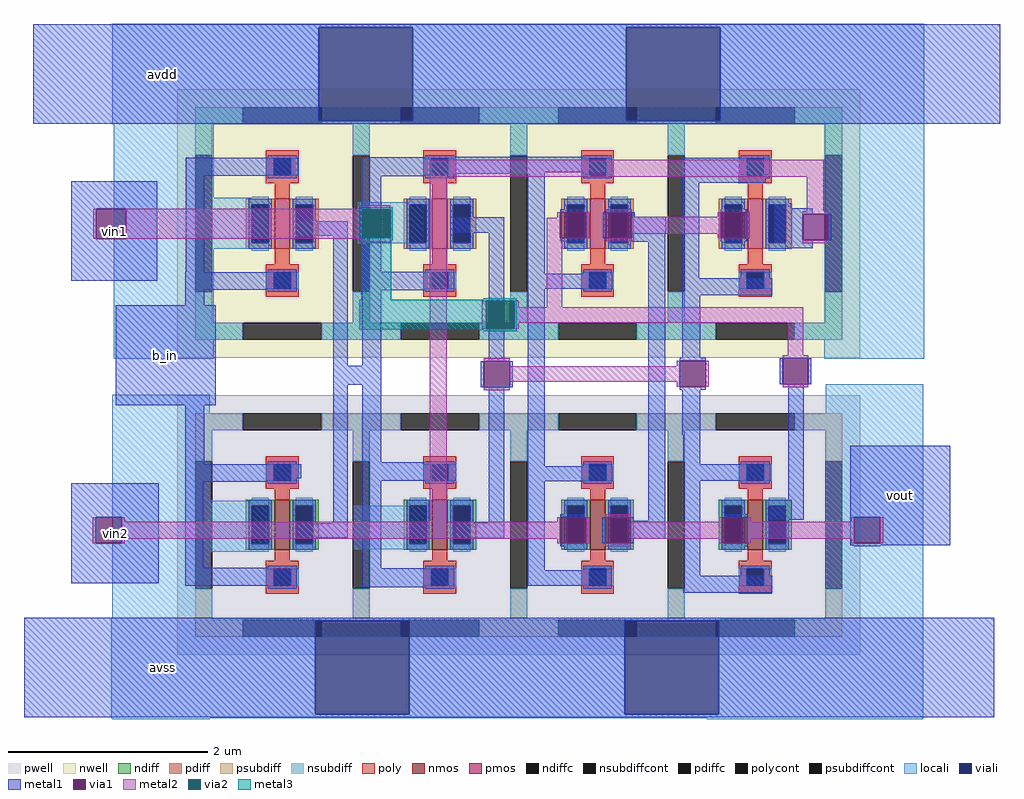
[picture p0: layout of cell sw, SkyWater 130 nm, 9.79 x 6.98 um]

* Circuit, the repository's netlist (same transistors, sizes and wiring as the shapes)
** sch_path: /foss/designs/crossmem_ipn/designs/libs/crossmem_ipn/dac5bits/sch/sw.sch
.subckt sw avdd b_in avss vin1 vout vin2
*.PININFO avss:B vin1:B vout:B avdd:B vin2:B b_in:B
XM1 net1 b_in avss avss sky130_fd_pr__nfet_01v8 L=0.15 W=0.5 nf=1
XM2 net1 b_in avdd avdd sky130_fd_pr__pfet_01v8 L=0.15 W=0.5 nf=1
XM3 net2 net1 avss avss sky130_fd_pr__nfet_01v8 L=0.15 W=0.5 nf=1
XM4 net2 net1 avdd avdd sky130_fd_pr__pfet_01v8 L=0.15 W=0.5 nf=1
XM5 vout net1 vin1 avdd sky130_fd_pr__pfet_01v8 L=0.15 W=0.5 nf=1
XM6 vout net1 vin2 avss sky130_fd_pr__nfet_01v8 L=0.15 W=0.5 nf=1
XM7 vin1 net2 vout avss sky130_fd_pr__nfet_01v8 L=0.15 W=0.5 nf=1
XM8 vin2 net2 vout avdd sky130_fd_pr__pfet_01v8 L=0.15 W=0.5 nf=1
.ends

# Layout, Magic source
magic
tech sky130A
magscale 1 2
<< locali >>
rect 880 117 2508 124
rect 880 -71 1294 117
rect 1482 -71 1911 117
rect 2099 -71 2508 117
rect 880 -78 2508 -71
rect 883 -225 1083 -78
rect 883 -327 1194 -225
rect 1372 -316 1505 -234
rect 883 -548 1083 -327
rect 2308 -548 2508 -78
rect 880 -833 1075 -620
rect 880 -935 1191 -833
rect 1364 -930 1512 -843
rect 880 -1068 1075 -935
rect 1255 -1068 2102 -1067
rect 2311 -1068 2506 -599
rect 878 -1073 2506 -1068
rect 878 -1261 1287 -1073
rect 1475 -1261 1908 -1073
rect 2096 -1261 2506 -1073
rect 878 -1269 2506 -1261
rect 880 -1271 1075 -1269
rect 2072 -1271 2506 -1269
<< viali >>
rect 1294 -71 1482 117
rect 1911 -71 2099 117
rect 1287 -1261 1475 -1073
rect 1908 -1261 2096 -1073
<< metal1 >>
rect 722 117 2660 123
rect 722 -71 1294 117
rect 1482 -71 1911 117
rect 2099 -71 2660 117
rect 722 -77 2660 -71
rect 1513 -144 1879 -143
rect 1027 -181 1253 -145
rect 1380 -174 1879 -144
rect 1380 -177 1747 -174
rect 798 -247 970 -192
rect 798 -307 848 -247
rect 908 -307 970 -247
rect 798 -392 970 -307
rect 1027 -374 1064 -181
rect 1380 -182 1561 -177
rect 1247 -301 1352 -272
rect 1026 -410 1247 -374
rect 1026 -441 1064 -410
rect 887 -641 1087 -441
rect 1323 -562 1352 -301
rect 1380 -373 1419 -182
rect 1562 -295 1666 -264
rect 1380 -411 1559 -373
rect 1381 -562 1419 -411
rect 1635 -553 1666 -295
rect 1713 -377 1747 -177
rect 2023 -179 2193 -145
rect 2023 -195 2190 -179
rect 1778 -254 1830 -248
rect 1864 -306 1870 -254
rect 1922 -263 1928 -254
rect 1922 -297 1991 -263
rect 1922 -306 1989 -297
rect 1778 -312 1830 -306
rect 1917 -313 1989 -306
rect 1713 -408 1883 -377
rect 1323 -600 1419 -562
rect 1026 -759 1064 -641
rect 1026 -788 1259 -759
rect 1026 -795 1239 -788
rect 798 -866 973 -798
rect 798 -918 847 -866
rect 899 -918 973 -866
rect 798 -998 973 -918
rect 1026 -967 1062 -795
rect 1323 -878 1352 -600
rect 1253 -907 1352 -878
rect 1381 -755 1419 -600
rect 1619 -605 1625 -553
rect 1677 -605 1683 -553
rect 1381 -793 1570 -755
rect 1026 -1003 1249 -967
rect 1381 -968 1419 -793
rect 1635 -877 1666 -605
rect 1570 -908 1666 -877
rect 1713 -763 1747 -408
rect 1713 -794 1883 -763
rect 1381 -1006 1556 -968
rect 1713 -972 1747 -794
rect 1778 -866 1830 -860
rect 1862 -918 1868 -866
rect 1920 -873 1926 -866
rect 1955 -873 1989 -313
rect 2023 -387 2057 -195
rect 2207 -246 2241 -236
rect 2100 -254 2152 -248
rect 2100 -312 2152 -306
rect 2207 -258 2285 -246
rect 2207 -310 2264 -258
rect 2316 -310 2322 -258
rect 2207 -326 2285 -310
rect 2023 -421 2203 -387
rect 2023 -546 2059 -421
rect 2018 -552 2070 -546
rect 2218 -599 2224 -547
rect 2276 -599 2282 -547
rect 2018 -610 2070 -604
rect 2023 -700 2059 -610
rect 1920 -909 1989 -873
rect 2025 -759 2059 -700
rect 2025 -793 2199 -759
rect 1920 -918 1926 -909
rect 1778 -924 1830 -918
rect 1713 -1003 1871 -972
rect 2025 -983 2059 -793
rect 2235 -840 2266 -599
rect 2102 -866 2154 -860
rect 2198 -871 2266 -840
rect 2360 -866 2560 -722
rect 2102 -924 2154 -918
rect 2360 -918 2368 -866
rect 2420 -918 2560 -866
rect 2360 -922 2560 -918
rect 2368 -924 2420 -922
rect 2025 -1017 2203 -983
rect 703 -1073 2648 -1067
rect 703 -1261 1287 -1073
rect 1475 -1261 1908 -1073
rect 2096 -1261 2648 -1073
rect 703 -1267 2648 -1261
<< via1 >>
rect 848 -307 908 -247
rect 1778 -306 1830 -254
rect 1870 -306 1922 -254
rect 847 -918 899 -866
rect 1625 -605 1677 -553
rect 1778 -918 1830 -866
rect 1868 -918 1920 -866
rect 2100 -306 2152 -254
rect 2264 -310 2316 -258
rect 2018 -604 2070 -552
rect 2224 -599 2276 -547
rect 2102 -918 2154 -866
rect 2368 -918 2420 -866
<< metal2 >>
rect 1517 -183 2307 -149
rect 1381 -247 1437 -240
rect 842 -307 848 -247
rect 908 -249 1439 -247
rect 908 -305 1381 -249
rect 1437 -305 1439 -249
rect 908 -307 1439 -305
rect 1381 -314 1437 -307
rect 841 -918 847 -866
rect 899 -875 905 -866
rect 1517 -875 1551 -183
rect 1870 -254 1922 -248
rect 2273 -252 2307 -183
rect 1772 -265 1778 -254
rect 1751 -306 1778 -265
rect 1830 -306 1836 -254
rect 2094 -263 2100 -254
rect 1922 -297 2100 -263
rect 2094 -306 2100 -297
rect 2152 -306 2158 -254
rect 2264 -258 2316 -252
rect 1621 -488 1630 -432
rect 1686 -445 1695 -432
rect 1751 -445 1782 -306
rect 1870 -312 1922 -306
rect 2264 -316 2316 -310
rect 1686 -476 2265 -445
rect 1686 -488 1695 -476
rect 2234 -541 2265 -476
rect 2224 -547 2276 -541
rect 1625 -553 1677 -547
rect 2012 -563 2018 -552
rect 1677 -594 2018 -563
rect 2012 -604 2018 -594
rect 2070 -604 2076 -552
rect 2224 -605 2276 -599
rect 1625 -611 1677 -605
rect 1868 -866 1920 -860
rect 1772 -875 1778 -866
rect 899 -909 1778 -875
rect 899 -918 905 -909
rect 1772 -918 1778 -909
rect 1830 -918 1836 -866
rect 2096 -875 2102 -866
rect 1920 -909 2102 -875
rect 2096 -918 2102 -909
rect 2154 -875 2160 -866
rect 2362 -875 2368 -866
rect 2154 -909 2368 -875
rect 2154 -918 2160 -909
rect 2362 -918 2368 -909
rect 2420 -918 2426 -866
rect 1868 -924 1920 -918
<< via2 >>
rect 1381 -305 1437 -249
rect 1630 -488 1686 -432
<< metal3 >>
rect 1376 -249 1442 -244
rect 1376 -305 1381 -249
rect 1437 -305 1442 -249
rect 1376 -310 1442 -305
rect 1379 -430 1439 -310
rect 1625 -430 1691 -427
rect 1375 -432 1691 -430
rect 1375 -488 1630 -432
rect 1686 -488 1691 -432
rect 1375 -490 1691 -488
rect 1625 -493 1691 -490
use sky130_fd_pr__nfet_01v8_PHAC7Z  XM1
transform 1 0 1221 0 1 -881
box -211 -260 211 260
use sky130_fd_pr__pfet_01v8_2H7JD5  XM2
transform 1 0 1221 0 1 -277
box -211 -269 211 269
use sky130_fd_pr__nfet_01v8_PHAC7Z  XM3
transform 1 0 1537 0 1 -881
box -211 -260 211 260
use sky130_fd_pr__pfet_01v8_2H7JD5  XM4
transform 1 0 1537 0 1 -277
box -211 -269 211 269
use sky130_fd_pr__pfet_01v8_2H7JD5  XM5
transform 1 0 1853 0 1 -277
box -211 -269 211 269
use sky130_fd_pr__nfet_01v8_PHAC7Z  XM6
transform 1 0 1853 0 1 -881
box -211 -260 211 260
use sky130_fd_pr__nfet_01v8_PHAC7Z  XM7
transform 1 0 2169 0 1 -881
box -211 -260 211 260
use sky130_fd_pr__pfet_01v8_2H7JD5  XM8
transform 1 0 2169 0 1 -277
box -211 -269 211 269
<< labels >>
flabel metal1 880 -77 1080 123 0 FreeSans 1600 0 0 0 avdd
port 0 nsew
flabel metal1 880 -1267 1080 -1067 0 FreeSans 1600 0 0 0 avss
port 2 nsew
flabel metal1 887 -641 1087 -441 0 FreeSans 1600 0 0 0 b_in
port 1 nsew
flabel metal1 2360 -922 2560 -722 0 FreeSans 1600 0 0 0 vout
port 4 nsew
flabel metal1 798 -998 973 -798 0 FreeSans 1600 0 0 0 vin2
port 5 nsew
flabel metal1 798 -392 970 -192 0 FreeSans 1600 0 0 0 vin1
port 3 nsew
<< end >>

# cell sky130_fd_pr__nfet_01v8_PHAC7Z: kit device sky130_fd_pr__nfet_01v8, w 0.5 l 0.15 m 1 nf 1 diffcov 100 polycov 100 guard 1 glc 1 grc 1 gtc 1 gbc 1 tbcov 100 rlcov 100 topc 1 botc 1 poverlap 0 doverlap 1 lmin 0.15 wmin 0.42 class mosfet compatible {sky130_fd_pr__nfet_01v8 sky130_fd_pr__nfet_01v8_lvt sky130_fd_bs_flash__special_sonosfet_star sky130_fd_pr__nfet_g5v0d10v5 sky130_fd_pr__nfet_05v0_nvt sky130_fd_pr__nfet_03v3_nvt} full_metal 1 conn_gates 0 viasrc 100 viadrn 100 viagate 100 viagb 0 viagr 0 viagl 0 viagt 0 doports 1

# cell sky130_fd_pr__pfet_01v8_2H7JD5: kit device sky130_fd_pr__pfet_01v8, w 0.5 l 0.15 m 1 nf 1 diffcov 100 polycov 100 guard 1 glc 1 grc 1 gtc 1 gbc 1 tbcov 100 rlcov 100 topc 1 botc 1 poverlap 0 doverlap 1 lmin 0.15 wmin 0.42 class mosfet compatible {sky130_fd_pr__pfet_01v8 sky130_fd_pr__pfet_01v8_lvt sky130_fd_pr__pfet_01v8_hvt sky130_fd_pr__pfet_g5v0d10v5} full_metal 1 conn_gates 0 viasrc 100 viadrn 100 viagate 100 viagb 0 viagr 0 viagl 0 viagt 0 doports 1
